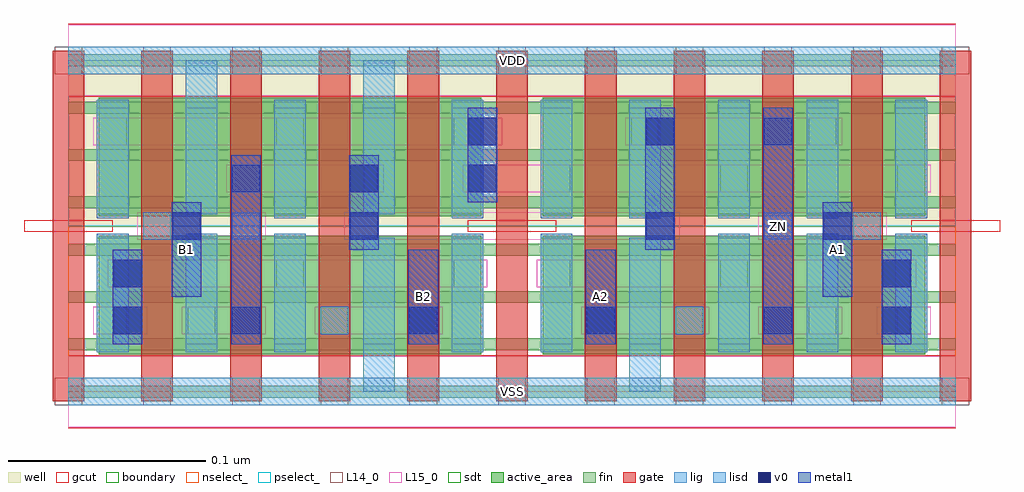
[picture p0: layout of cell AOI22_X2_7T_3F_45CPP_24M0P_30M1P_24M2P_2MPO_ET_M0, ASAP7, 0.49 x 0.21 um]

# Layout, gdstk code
import gdstk
lib = gdstk.Library(unit=1e-6, precision=2.5e-10)
def R(c, l, rs):  # rectangles x0, y0, x1, y1
    for r in rs: c.add(gdstk.rectangle(r[:2], r[2:], *l))
def A(c, l, x, y, w, h, nx, ny, dx, dy):  # array of equal rectangles
    R(c, l, [(x+i*dx, y+j*dy, x+i*dx+w, y+j*dy+h) for i in range(nx) for j in range(ny)])
well = (1, 0)
fin = (2, 0)
gate = (7, 0)
gcut = (10, 0)
active_area = (11, 0)
nselect_ = (12, 0)
pselect_ = (13, 0)
L14_0 = (14, 0)
L15_0 = (15, 0)
lig = (16, 0)
lisd = (17, 0)
v0 = (18, 0)
metal1 = (19, 0)
sdt = (88, 0)
boundary = (100, 0)

aoi22_x2_7t_3f_45cpp_24m = lib.new_cell('AOI22_X2_7T_3F_45CPP_24M0P_30M1P_24M2P_2MPO_ET_M0')
R(aoi22_x2_7t_3f_45cpp_24m, well, [(0,0.084,0.45,0.168)])
A(aoi22_x2_7t_3f_45cpp_24m, fin, 0, -0.003, 0.45, 0.006, 1, 8, 0, 0.024)
A(aoi22_x2_7t_3f_45cpp_24m, gate, -0.008, -0.005, 0.016, 0.178, 11, 1, 0.045, 0)
A(aoi22_x2_7t_3f_45cpp_24m, gcut, -0.0225, 0.081, 0.045, 0.006, 3, 1, 0.225, 0)
R(aoi22_x2_7t_3f_45cpp_24m, gcut, [(0,-0.0185,0.45,0.0185), (0,0.1495,0.45,0.1865)])
R(aoi22_x2_7t_3f_45cpp_24m, active_area, [(0.0155,0.019,0.1195,0.079), (0.1055,0.019,0.2095,0.079), (0.2405,0.019,0.3445,0.079), (0.3305,0.019,0.4345,0.079), (0.0155,0.089,0.1195,0.149), (0.1055,0.089,0.2095,0.149), (0.2405,0.089,0.3445,0.149), (0.3305,0.089,0.4345,0.149)])
R(aoi22_x2_7t_3f_45cpp_24m, nselect_, [(0,0,0.45,0.084)])
R(aoi22_x2_7t_3f_45cpp_24m, pselect_, [(0,0.084,0.45,0.168)])
A(aoi22_x2_7t_3f_45cpp_24m, L14_0, -0.007, -0.007, 0.014, 0.014, 11, 2, 0.045, 0.168)
A(aoi22_x2_7t_3f_45cpp_24m, L14_0, 0.2405, 0.101, 0.014, 0.014, 3, 1, 0.09, 0)
A(aoi22_x2_7t_3f_45cpp_24m, L14_0, 0.0155, 0.125, 0.014, 0.014, 5, 1, 0.09, 0)
R(aoi22_x2_7t_3f_45cpp_24m, L14_0, [(0.0155,0.029,0.0295,0.043), (0.0605,0.029,0.0745,0.043), (0.128,0.029,0.142,0.043), (0.173,0.029,0.187,0.043), (0.263,0.029,0.277,0.043), (0.308,0.029,0.322,0.043), (0.3755,0.029,0.3895,0.043), (0.4205,0.029,0.4345,0.043), (0.1055,0.053,0.1195,0.067), (0.1955,0.053,0.2095,0.067), (0.2405,0.053,0.2545,0.067), (0.3305,0.053,0.3445,0.067), (0.038,0.077,0.052,0.091), (0.083,0.077,0.097,0.091), (0.353,0.077,0.367,0.091), (0.398,0.077,0.412,0.091)])
R(aoi22_x2_7t_3f_45cpp_24m, L15_0, [(0,-0.018,0.45,0.018), (0.0125,0.029,0.04,0.043), (0.0575,0.029,0.1,0.043), (0.125,0.029,0.19,0.043), (0.26,0.029,0.325,0.043), (0.35,0.029,0.3925,0.043), (0.41,0.029,0.4375,0.043), (0.02,0.053,0.2125,0.067), (0.2375,0.053,0.43,0.067), (0.035,0.077,0.1,0.091), (0.14,0.077,0.31,0.091), (0.35,0.077,0.415,0.091), (0.08,0.101,0.16,0.115), (0.2,0.101,0.4375,0.115), (0.0125,0.125,0.22,0.139), (0.2825,0.125,0.3925,0.139), (0,0.15,0.45,0.186)])
R(aoi22_x2_7t_3f_45cpp_24m, lig, [(0,-0.007,0.45,0.007), (0.128,0.029,0.142,0.043), (0.173,0.029,0.187,0.043), (0.263,0.029,0.277,0.043), (0.308,0.029,0.322,0.043), (0.038,0.077,0.052,0.091), (0.083,0.077,0.097,0.091), (0.353,0.077,0.367,0.091), (0.398,0.077,0.412,0.091), (0,0.161,0.45,0.175)])
A(aoi22_x2_7t_3f_45cpp_24m, lisd, 0.0145, 0.02, 0.016, 0.06, 3, 1, 0.045, 0)
A(aoi22_x2_7t_3f_45cpp_24m, lisd, 0.3295, 0.02, 0.016, 0.06, 3, 1, 0.045, 0)
A(aoi22_x2_7t_3f_45cpp_24m, lisd, 0.0145, 0.088, 0.016, 0.06, 3, 1, 0.09, 0)
A(aoi22_x2_7t_3f_45cpp_24m, lisd, 0.2395, 0.088, 0.016, 0.06, 5, 1, 0.045, 0)
R(aoi22_x2_7t_3f_45cpp_24m, lisd, [(0.1495,0,0.1655,0.078), (0.2845,0,0.3005,0.078), (0.1945,0.02,0.2105,0.08), (0.2395,0.02,0.2555,0.08), (0.0595,0.09,0.0755,0.168), (0.1495,0.09,0.1655,0.168)])
A(aoi22_x2_7t_3f_45cpp_24m, v0, 0.083, 0.029, 0.014, 0.014, 4, 1, 0.09, 0)
A(aoi22_x2_7t_3f_45cpp_24m, v0, 0.083, 0.101, 0.014, 0.014, 3, 1, 0.06, 0)
R(aoi22_x2_7t_3f_45cpp_24m, v0, [(0.023,0.029,0.037,0.043), (0.413,0.029,0.427,0.043), (0.023,0.053,0.037,0.067), (0.413,0.053,0.427,0.067), (0.053,0.077,0.067,0.091), (0.143,0.077,0.157,0.091), (0.293,0.077,0.307,0.091), (0.383,0.077,0.397,0.091), (0.203,0.125,0.217,0.139), (0.293,0.125,0.307,0.139), (0.353,0.125,0.367,0.139)])
R(aoi22_x2_7t_3f_45cpp_24m, metal1, [(0.0225,0.024,0.0375,0.072), (0.0825,0.024,0.0975,0.12), (0.1725,0.024,0.1875,0.072), (0.2625,0.024,0.2775,0.072), (0.3525,0.024,0.3675,0.144), (0.4125,0.024,0.4275,0.072), (0.0525,0.048,0.0675,0.096), (0.3825,0.048,0.3975,0.096), (0.1425,0.072,0.1575,0.12), (0.2925,0.072,0.3075,0.144), (0.2025,0.096,0.2175,0.144)])
A(aoi22_x2_7t_3f_45cpp_24m, sdt, 0.0145, 0.024, 0.016, 0.054, 10, 2, 0.045, 0.066)
R(aoi22_x2_7t_3f_45cpp_24m, boundary, [(0,0,0.45,0.168)])
aoi22_x2_7t_3f_45cpp_24m.add(gdstk.Label('A1', (0.39,0.072), layer=19, texttype=251))
aoi22_x2_7t_3f_45cpp_24m.add(gdstk.Label('A2', (0.27,0.048), layer=19, texttype=251))
aoi22_x2_7t_3f_45cpp_24m.add(gdstk.Label('ZN', (0.36,0.084), layer=19, texttype=251))
aoi22_x2_7t_3f_45cpp_24m.add(gdstk.Label('B1', (0.06,0.072), layer=19, texttype=251))
aoi22_x2_7t_3f_45cpp_24m.add(gdstk.Label('B2', (0.18,0.048), layer=19, texttype=251))
aoi22_x2_7t_3f_45cpp_24m.add(gdstk.Label('VDD', (0.225,0.168), layer=15, texttype=251))
aoi22_x2_7t_3f_45cpp_24m.add(gdstk.Label('VSS', (0.225,0), layer=15, texttype=251))
aoi22_x2_7t_3f_45cpp_24m.add(gdstk.Label('VDD', (0.225,0.168), layer=1, texttype=251))
aoi22_x2_7t_3f_45cpp_24m.add(gdstk.Label('VSS', (0.225,0), layer=3, texttype=251))

lib.write_gds('AOI22_X2_7T_3F_45CPP_24M0P_30M1P_24M2P_2MPO_ET_M0.gds')
